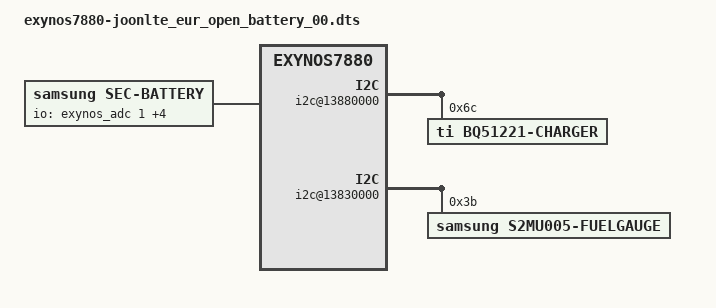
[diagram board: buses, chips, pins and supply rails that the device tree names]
/*
 * SAMSUNG UNIVERSAL7880 board device tree source
 *
 * Copyright (c) 2015 Samsung Electronics Co., Ltd.
 *		http://www.samsung.com
 *
 * This program is free software; you can redistribute it and/or modify
 * it under the terms of the GNU General Public License version 2 as
 * published by the Free Software Foundation.
*/

/ {
	i2c@13880000 { /* I2C Channel 1 */
		status = "okay";
		bq51221-charger@6c {
			compatible = "ti,bq51221-charger";
			reg = <0x6c>;
			status = "okay";
		};
	};

	pinctrl@139F0000 {
		fuel_irq: fuel-irq {
			samsung,pins = "gpa0-3";
			samsung,pin-function = <0>;
			samsung,pin-pud = <0>;
			samsung,pin-drv = <0>;
		};
	};

	pinctrl@139F0000 {
		if_pmic_irq: if-pmic-irq {
			samsung,pins = "gpa2-7";
			samsung,pin-function = <0>;
			samsung,pin-pud = <0>;
			samsung,pin-drv = <0>;
		};
	};

	i2c@13830000 {
		status = "okay";
		s2mu005-fuelgauge@3B {
			compatible = "samsung,s2mu005-fuelgauge";
			reg = <0x3B>;
			pinctrl-names = "default";
			pinctrl-0 = <&fuel_irq>;
			fuelgauge,fuel_int = <&gpa0 3 0>;
			fuelgauge,fuel_alert_soc = <1>;
			fuelgauge,capacity_max = <1000>;
			fuelgauge,capacity_max_margin = <70>;
			fuelgauge,capacity_min = <0>;
			fuelgauge,capacity_calculation_type = <28>;
			fuelgauge,type_str = "SDI";
			fuelgauge,model_type = <1>;
		};
	};

	battery_params {
			battery,battery_table1 = <4 11 126 10 248 9 134 9 25 9
						177 8 83 8 204 7 135 7 32 7
						219 6 168 6 127 6 93 6 64 6
						29 6 245 5 180 5 137 5 89 13
						87 5 216 1 175 8 66 8 213 7
						104 7 252 6 143 6 34 6 182 5
						73 5 220 4 111 4 2 4 150 3
						41 3 188 2 79 2 226 1 118 1
						9 1 156 0 48 0 195 15>;

			battery,battery_table2 = <42 42 42 41 41 41 40 42 42 41
						41 41 42 43 43 44 46 49 53 61
						68 154>;

			battery,battery_table3 = <139 11 4 11 126 10 248 9 134 9
						25 9 177 8 83 8 204 7 135 7
						32 7 219 6 168 6 127 6 93 6
						64 6 29 6 245 5 180 5 137 5
						87 5 216 1 175 8 66 8 213 7
						104 7 252 6 143 6 34 6 182 5
						73 5 220 4 111 4 2 4 150 3
						41 3 188 2 79 2 226 1 118 1
						9 1 156 0 48 0 195 15>;

			battery,battery_table4 = <42 42 42 41 41 41 40 42 42 41
						41 41 42 43 43 44 46 49 53 61
						68 154>;

			battery,batcap = <0xD8 0x27 0xF6 0x09>; /* [0x0E] [0x0F] [0x10] [0x11] */

			battery,soc_arr_evt1 = <10854 10323 9792 9260 8730 8199 7668 7137 6605 6074 5543 5012 4481 3950 3419 2888 2356 1825 1294 763 233 (-290)>;
			battery,ocv_arr_evt1 = <44430 43770 43110 42460 41900 41370 40860 40400 39740 39400 38900 38570 38320 38110 37950 37810 37640 37440 37120 36910 36670 32300>;

			battery,soc_arr_evt2 = <10854 10323 9792 9260 8730 8199 7668 7137 6605 6074 5543 5012 4481 3950 3419 2888 2356 1825 1294 763 233 (-290)>;
			battery,ocv_arr_evt2 = <44430 43770 43110 42460 41900 41370 40860 40400 39740 39400 38900 38570 38320 38110 37950 37810 37640 37440 37120 36910 36670 32300>;
	};

	battery {
		status = "okay";
		compatible = "samsung,sec-battery";

		pinctrl-names = "default";

		battery,vendor = "SDI SDI";
		battery,charger_name = "s2mu005-charger";
		battery,fuelgauge_name = "s2mu005-fuelgauge";
		battery,wireless_charger_name = "bq51221-charger";
		battery,technology = <2>; /* POWER_SUPPLY_TECHNOLOGY_LION */

		battery,chip_vendor = "LSI";
		battery,temp_adc_type = <1>; /* SEC_BATTERY_ADC_TYPE_AP */

		battery,polling_time = <10 30 30 30 3600>;

		battery,temp_table_adc = <288 348 403 483 549 645 759 876 1020 1179 1249 1367 1572 1790 2023
								2236 2465 2678 2883 3072 3184 3251 3387 3503 3600 >;

		battery,temp_table_data = <900 850 800 750 700 650 600 550 500 450 430 400 350 300 250
								200 150 100 50 0 (-30) (-50) (-100) (-150) (-200)>;

		battery,input_current_limit = <1500 460 460 1500 460 900 1000 460 1000 0 900 900 900 1900 1500 0 0 400 700 1300 300 1000 1500 0 1650 1800 1000 1650 80 1800 1650 1400 1000 1000 600 900 900 900>;
		battery,fast_charging_current = <1700 0 0 1700 800 1200 1000 460 1200 0 1200 1200 1200 1600 2100 0 0 400 700 1300 300 1000 1500 0 2550 2550 1000 2550 80 1800 1000 1400 0 1000 1200 1200 1200 1200>;
		battery,full_check_current_1st = <275 0 0 275 275 275 275 275 275 0 275 275 275 275 275 0 0 275 275 275 275 275 275 0 275 275 275 275 0 275 275 275 0 275 275 275 275 275>;
		battery,full_check_current_2nd = <100 0 0 100 100 100 100 100 100 0 100 100 100 100 100 0 0 100 100 100 100 100 100 0 100 100 100 100 0 100 100 100 0 100 100 100 100 100>;

		battery,wireless_cc_cv = <85>;
		battery,inbat_voltage = <1>;

		battery,inbat_voltage_table_adc = <3120 3101 3061 3038 3001 2956 2920 2887 2856 2814
						2793 2754 2720 2677 2641 2613 2572 2531 2502 2467 2436>;
		battery,inbat_voltage_table_data = <438 435 430 425 420 415 410 405 400 395
						390 385 380 375 370 365 360 355 350 345 340>;

		battery,adc_check_count = <5>;

		battery,cable_check_type = <4>; /* SEC_BATTERY_CABLE_CHECK_PSY */
		battery,cable_source_type = <1>; /* SEC_BATTERY_CABLE_SOURCE_EXTERNAL */
		battery,polling_type = <1>; /* SEC_BATTERY_MONITOR_ALARM */
		battery,monitor_initial_count = <0>;

		battery,battery_check_type = <0>; /* SEC_BATTERY_CHECK_NONE */
		battery,check_count = <0>;
		battery,check_adc_max = <1440>;
		battery,check_adc_min = <0>;

		battery,ovp_uvlo_check_type = <3>; /* SEC_BATTERY_OVP_UVLO_CHGPOLLING */

		battery,thermal_source = <2>; /* SEC_BATTERY_THERMAL_SOURCE_ADC */

		battery,temp_check_type = <2>; /* SEC_BATTERY_TEMP_CHECK_TEMP */
		battery,temp_check_count = <1>;
		battery,temp_highlimit_threshold_normal = <800>;
		battery,temp_highlimit_recovery_normal = <750>;
		battery,temp_high_threshold_normal = <550>;
		battery,temp_high_recovery_normal = <500>;
		battery,temp_low_threshold_normal = <(-50)>;
		battery,temp_low_recovery_normal = <0>;
		battery,temp_highlimit_threshold_lpm = <800>;
		battery,temp_highlimit_recovery_lpm = <750>;
		battery,temp_high_threshold_lpm = <550>;
		battery,temp_high_recovery_lpm = <500>;
		battery,temp_low_threshold_lpm = <(-50)>;
		battery,temp_low_recovery_lpm = <0>;

		battery,full_check_type = <2>; /* SEC_BATTERY_FULLCHARGED_FG_CURRENT */
		battery,full_check_type_2nd = <2>; /* SEC_BATTERY_FULLCHARGED_FG_CURRENT */
		battery,full_check_count = <1>;
		battery,chg_gpio_full_check = <0>;
		battery,chg_polarity_full_check = <1>;

		battery,chg_high_temp_1st = <530>;
		battery,chg_high_temp_2nd = <530>;
		battery,chg_high_temp_recovery = <525>;
		battery,chg_charging_limit_current = <1300>;
		battery,chg_charging_limit_current_2nd = <1300>;
		battery,chg_skip_check_capacity = <10>;
		battery,chg_skip_check_time = <600>;

		battery,wpc_high_temp = <430>;
		battery,wpc_high_temp_recovery = <429>;
		battery,wpc_heat_temp_recovery = <360>;
		battery,wpc_lcd_on_high_temp = <410>;
		battery,wpc_lcd_on_high_temp_rec = <300>;
		battery,wpc_hv_lcd_on_input_limit_current = <400>;
		battery,wpc_charging_limit_current = <540>;
		battery,wpc_skip_check_capacity = <5>;
		battery,wpc_skip_check_time = <600>;

		battery,sleep_mode_limit_current = <500>;
		battery,wc_full_input_limit_current = <100>;
		battery,wc_heating_input_limit_current = <400>;
		battery,wc_heating_time = <300>; /* 5min */
		battery,wc_cv_current = <820>;

		/* SEC_BATTERY_FULL_CONDITION_SOC |
		   SEC_BATTERY_FULL_CONDITION_NOTIMEFULL |
		   SEC_BATTERY_FULL_CONDITION_VCELL |
		   SEC_BATTERY_FULL_CONDITION_NOSLEEPINFULL */
		battery,full_condition_type = <15>;
		battery,full_condition_soc = <93>;
		battery,full_condition_vcell = <4290>;

		battery,recharge_check_count = <2>;
		battery,recharge_condition_type = <4>; /* SEC_BATTERY_RECHARGE_CONDITION_VCELL */
		battery,recharge_condition_soc = <98>;
		battery,recharge_condition_vcell = <4340>;

		battery,charging_total_time = <21600>;
		battery,recharging_total_time = <5400>;
		battery,charging_reset_time = <0>;

		battery,chg_float_voltage = <4390>;

		battery,self_discharging_en;
		battery,force_discharging_limit = <650>;
		battery,force_discharging_recov = <550>;
		battery,self_discharging_voltage_limit = <4250>;
		battery,discharging_adc_max = <2600>;
		battery,discharging_adc_min = <1700>;
		battery,discharging_ntc_limit = <2750>;

		battery,swelling_high_temp_block = <450>;
		battery,swelling_high_temp_recov = <400>;
		battery,swelling_low_temp_block = <100>;
		battery,swelling_low_temp_recov = <150>;
		battery,swelling_low_temp_current = <1400>;	/* 0.5C */
		battery,swelling_low_temp_topoff = <125>;	/* 0.05C */
		battery,swelling_high_temp_current = <1500>;	/* 0.7C */
		battery,swelling_high_temp_topoff = <125>;	/* 0.05C */
		battery,swelling_drop_float_voltage = <4200>;
		battery,swelling_high_rechg_voltage = <4150>;
		battery,swelling_low_rechg_voltage = <4050>;

		io-channels = <&exynos_adc 1>, <&exynos_adc 2>, <&exynos_adc 3>, <&exynos_adc 5>, <&exynos_adc 7>;
		io-channel-names = "adc-temp", "adc-chg-temp", "adc-in-bat", "adc-dischg", "adc-dischg-ntc";
		#io-channel-cells = <5>;
		io-channel-ranges;
	};

	s2mu005-charger {
		status = "disable";
		compatible = "samsung,s2mu005-charger";
		battery,is_1MHz_switching = <1>;
		battery,chg_gpio_en = <0>;
		battery,chg_polarity_en = <0>;
		battery,chg_gpio_status = <0>;
		battery,chg_polarity_status = <0>;
		battery,chg_float_voltage = <4390>;
	};
};
